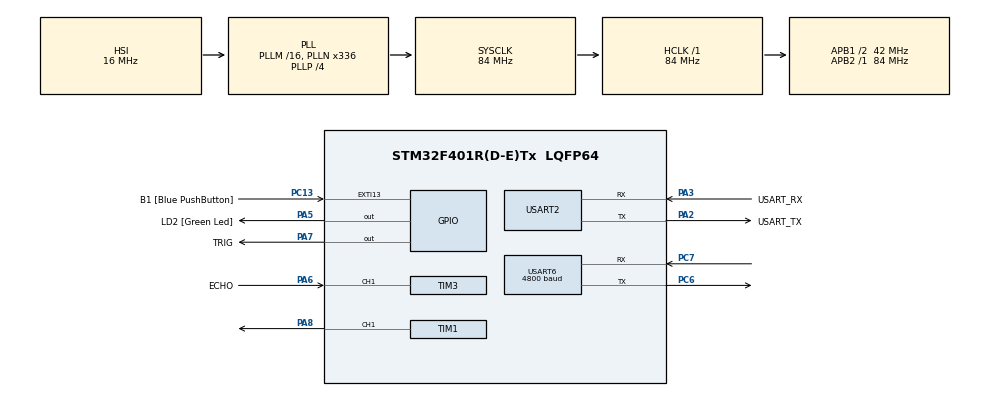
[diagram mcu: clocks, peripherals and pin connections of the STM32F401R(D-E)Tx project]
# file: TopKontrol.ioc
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Mcu.Family=STM32F4
Mcu.Name=STM32F401R(D-E)Tx
Mcu.Package=LQFP64
NVIC.PriorityGroup=NVIC_PRIORITYGROUP_0
NVIC.TIM2_IRQn=true\:0\:0\:false\:false\:true\:true\:true\:true
NVIC.TIM3_IRQn=true\:0\:5\:false\:false\:true\:true\:true\:true
NVIC.TIM4_IRQn=true\:0\:0\:false\:false\:true\:true\:true\:true
NVIC.USART6_IRQn=true\:0\:4\:false\:false\:true\:true\:true\:true
PA13.GPIO_Label=TMS
PA13.Mode=Serial_Wire
PA13.Signal=SYS_JTMS-SWDIO
PA14.GPIO_Label=TCK
PA14.Mode=Serial_Wire
PA14.Signal=SYS_JTCK-SWCLK
PA2.GPIO_Label=USART_TX
PA2.GPIO_Mode=GPIO_MODE_AF_PP
PA2.GPIO_PuPd=GPIO_NOPULL
PA2.GPIO_Speed=GPIO_SPEED_FREQ_LOW
PA2.Mode=Asynchronous
PA2.Signal=USART2_TX
PA3.GPIO_Label=USART_RX
PA3.GPIO_Mode=GPIO_MODE_AF_PP
PA3.GPIO_PuPd=GPIO_NOPULL
PA3.GPIO_Speed=GPIO_SPEED_FREQ_LOW
PA3.Mode=Asynchronous
PA3.Signal=USART2_RX
PA5.GPIO_Label=LD2 [Green Led]
PA5.GPIO_Mode=GPIO_MODE_OUTPUT_PP
PA5.GPIO_PuPd=GPIO_NOPULL
PA5.GPIO_Speed=GPIO_SPEED_FREQ_LOW
PA5.Signal=GPIO_Output
PA6.GPIO_Label=ECHO
PA6.Signal=S_TIM3_CH1
PA7.GPIO_Label=TRIG
PA7.PinState=GPIO_PIN_RESET
PA7.Signal=GPIO_Output
PA8.Signal=S_TIM1_CH1
PB3.GPIO_Label=SWO
PB3.Signal=SYS_JTDO-SWO
PC13-ANTI_TAMP.GPIO_Label=B1 [Blue PushButton]
PC13-ANTI_TAMP.GPIO_ModeDefaultEXTI=GPIO_MODE_IT_FALLING
PC13-ANTI_TAMP.GPIO_PuPd=GPIO_NOPULL
PC13-ANTI_TAMP.Signal=GPXTI13
PC14-OSC32_IN.Mode=LSE-External-Oscillator
PC14-OSC32_IN.Signal=RCC_OSC32_IN
PC15-OSC32_OUT.Mode=LSE-External-Oscillator
PC15-OSC32_OUT.Signal=RCC_OSC32_OUT
PC6.Mode=Asynchronous
PC6.Signal=USART6_TX
PC7.Mode=Asynchronous
PC7.Signal=USART6_RX
PH0\ -\ OSC_IN.Mode=HSE-External-Clock-Source
PH0\ -\ OSC_IN.Signal=RCC_OSC_IN
PH1\ -\ OSC_OUT.Mode=HSE-External-Clock-Source
PH1\ -\ OSC_OUT.Signal=RCC_OSC_OUT
ProjectManager.HeapSize=0x200
ProjectManager.StackSize=0x400
ProjectManager.TargetToolchain=STM32CubeIDE
RCC.48MHZClocksFreq_Value=48000000
RCC.AHBFreq_Value=84000000
RCC.APB1CLKDivider=RCC_HCLK_DIV2
RCC.APB1Freq_Value=42000000
RCC.APB1TimFreq_Value=84000000
RCC.APB2Freq_Value=84000000
RCC.APB2TimFreq_Value=84000000
RCC.CortexFreq_Value=84000000
RCC.HCLKFreq_Value=84000000
RCC.HSE_VALUE=8000000
RCC.HSI_VALUE=16000000
RCC.PLLN=336
RCC.PLLP=RCC_PLLP_DIV4
RCC.PLLQ=7
RCC.SYSCLKFreq_VALUE=84000000
RCC.SYSCLKSource=RCC_SYSCLKSOURCE_PLLCLK
RCC.VCOOutputFreq_Value=336000000
SH.S_TIM1_CH1.0=TIM1_CH1,PWM Generation1 CH1
SH.S_TIM3_CH1.0=TIM3_CH1,Input_Capture1_from_TI1
TIM1.Channel-PWM\ Generation1\ CH1=TIM_CHANNEL_1
TIM1.Period=1000-1
TIM1.Prescaler=1680-1
TIM2.Period=1000-1
TIM2.Prescaler=84-1
TIM3.Channel-Input_Capture1_from_TI1=TIM_CHANNEL_1
TIM3.Prescaler=84-1
TIM4.Period=50000-1
TIM4.Prescaler=84-1
TIM5.Prescaler=84-1
USART2.VirtualMode=VM_ASYNC
USART6.BaudRate=4800
USART6.VirtualMode=VM_ASYNC
VP_TIM1_VS_ClockSourceINT.Mode=Internal
VP_TIM2_VS_ClockSourceINT.Mode=Internal
VP_TIM3_VS_ClockSourceINT.Mode=Internal
VP_TIM4_VS_ClockSourceINT.Mode=Internal
VP_TIM5_VS_ClockSourceINT.Mode=Internal
board=NUCLEO-F401RE

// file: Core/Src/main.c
/* USER CODE BEGIN Header */
/**
  ******************************************************************************
  * @file           : main.c
  * @brief          : Main program body
  ******************************************************************************
  * @attention
  *
  * Copyright (c) 2023 STMicroelectronics.
  * All rights reserved.
  *
  * This software is licensed under terms that can be found in the LICENSE file
  * in the root directory of this software component.
  * If no LICENSE file comes with this software, it is provided AS-IS.
  *
  ******************************************************************************
  */
/* USER CODE END Header */
#include "main.h"

TIM_HandleTypeDef htim1;
TIM_HandleTypeDef htim2;
TIM_HandleTypeDef htim3;
TIM_HandleTypeDef htim4;
TIM_HandleTypeDef htim5;

UART_HandleTypeDef huart2;
UART_HandleTypeDef huart6;

/* USER CODE BEGIN PV */
uint32_t pwmValue = 0,pwmCALIB;
uint8_t capturedFlag = 0;
float distance = 0, distance2 = 0, distanceSharp = 0, errorPos = 0, prevErrorPos = 0, adcVoltage = 0;
uint32_t firstValue, lastValue;

int refPos = 0;
float P, I, D;
float Kp = 5, Ki = 50, Kd=250; // Kp = 5, Ki = 0.000005, Kd = 350;

uint8_t isTriggered = 0;
//uint8_t n = 2;
float FIR_b[2]={0.5, 0.5};
float FIR_x[2]={0, 0};

uint8_t transmitData[] ={'#', 'p', 'o', 's', ':', ' ', ' ', ' ', 'r', 'e', 'f', 'p', 'o', 's', ':', ' ', ' ', ' ', '\n'};
uint8_t receiveData[10];
/* USER CODE END PV */

void SystemClock_Config(void);
static void MX_GPIO_Init(void);
static void MX_USART2_UART_Init(void);
static void MX_TIM1_Init(void);
static void MX_TIM3_Init(void);
static void MX_TIM2_Init(void);
static void MX_TIM4_Init(void);
static void MX_USART6_UART_Init(void);
static void MX_TIM5_Init(void);
/* USER CODE BEGIN PFP */
int absolute(int x);
float exponential10(int x);
float FIR(float* b, float* x);
/* USER CODE END PFP */

/* USER CODE BEGIN 0 */
int absolute(int x)
{
	if(x < 0)
		x = -1*x;
	return x;
}
float exponential10(int x)
{
	uint32_t multiplier = 1;
	if(x == 0)
		return 1;
	else if(x > 0)
	{
		for(int i = 0; i<x; i++)
				multiplier = 10*multiplier;
		return multiplier;
	}
	else
	{
		for(int i = x; i<0; i++)
						multiplier = 10*multiplier;
		return 1/multiplier;
	}

}
float FIR(float* b, float* x)
{
	if(sizeof(x) == sizeof(b))
	{
		float y = 0.0;
		for(int i = 0; i < sizeof(x); i++)
		{
			y = y + b[i]*x[i];
		}
		return y;
	}
}
/* USER CODE END 0 */

int main(void)
{

  /* MCU Configuration--------------------------------------------------------*/

  /* Reset of all peripherals, Initializes the Flash interface and the Systick. */
  HAL_Init();

  /* Configure the system clock */
  SystemClock_Config();

  /* Initialize all configured peripherals */
  MX_GPIO_Init();
  MX_USART2_UART_Init();
  MX_TIM1_Init();
  MX_TIM3_Init();
  MX_TIM2_Init();
  MX_TIM4_Init();
  MX_USART6_UART_Init();
  MX_TIM5_Init();
  /* USER CODE BEGIN 2 */
HAL_TIM_PWM_Start(&htim1, TIM_CHANNEL_1);//PWMMotor
HAL_TIM_IC_Start_IT(&htim3, TIM_CHANNEL_1);//ECHO
HAL_TIM_Base_Start_IT(&htim2);//TRIG10us_
HAL_TIM_Base_Start_IT(&htim4);//derivative_20ms
//HAL_ADC_Start_IT(&hadc1);

HAL_UART_Transmit_IT(&huart6, transmitData, sizeof(transmitData));
HAL_UART_Receive_IT(&huart6, receiveData, sizeof(receiveData));

  /* USER CODE END 2 */

  /* Infinite loop */
  while (1)
  {

  }
}

void SystemClock_Config(void)
{
  RCC_OscInitTypeDef RCC_OscInitStruct = {0};
  RCC_ClkInitTypeDef RCC_ClkInitStruct = {0};

  /** Configure the main internal regulator output voltage
  */
  __HAL_RCC_PWR_CLK_ENABLE();
  __HAL_PWR_VOLTAGESCALING_CONFIG(PWR_REGULATOR_VOLTAGE_SCALE2);

  /** Initializes the RCC Oscillators according to the specified parameters
  * in the RCC_OscInitTypeDef structure.
  */
  RCC_OscInitStruct.OscillatorType = RCC_OSCILLATORTYPE_HSI;
  RCC_OscInitStruct.HSIState = RCC_HSI_ON;
  RCC_OscInitStruct.HSICalibrationValue = RCC_HSICALIBRATION_DEFAULT;
  RCC_OscInitStruct.PLL.PLLState = RCC_PLL_ON;
  RCC_OscInitStruct.PLL.PLLSource = RCC_PLLSOURCE_HSI;
  RCC_OscInitStruct.PLL.PLLM = 16;
  RCC_OscInitStruct.PLL.PLLN = 336;
  RCC_OscInitStruct.PLL.PLLP = RCC_PLLP_DIV4;
  RCC_OscInitStruct.PLL.PLLQ = 7;
  if (HAL_RCC_OscConfig(&RCC_OscInitStruct) != HAL_OK)
  {
    Error_Handler();
  }

  /** Initializes the CPU, AHB and APB buses clocks
  */
  RCC_ClkInitStruct.ClockType = RCC_CLOCKTYPE_HCLK|RCC_CLOCKTYPE_SYSCLK
                              |RCC_CLOCKTYPE_PCLK1|RCC_CLOCKTYPE_PCLK2;
  RCC_ClkInitStruct.SYSCLKSource = RCC_SYSCLKSOURCE_PLLCLK;
  RCC_ClkInitStruct.AHBCLKDivider = RCC_SYSCLK_DIV1;
  RCC_ClkInitStruct.APB1CLKDivider = RCC_HCLK_DIV2;
  RCC_ClkInitStruct.APB2CLKDivider = RCC_HCLK_DIV1;

  if (HAL_RCC_ClockConfig(&RCC_ClkInitStruct, FLASH_LATENCY_2) != HAL_OK)
  {
    Error_Handler();
  }
}

static void MX_TIM1_Init(void)
{

  TIM_ClockConfigTypeDef sClockSourceConfig = {0};
  TIM_MasterConfigTypeDef sMasterConfig = {0};
  TIM_OC_InitTypeDef sConfigOC = {0};
  TIM_BreakDeadTimeConfigTypeDef sBreakDeadTimeConfig = {0};

  htim1.Instance = TIM1;
  htim1.Init.Prescaler = 1680-1;
  htim1.Init.CounterMode = TIM_COUNTERMODE_UP;
  htim1.Init.Period = 1000-1;
  htim1.Init.ClockDivision = TIM_CLOCKDIVISION_DIV1;
  htim1.Init.RepetitionCounter = 0;
  htim1.Init.AutoReloadPreload = TIM_AUTORELOAD_PRELOAD_DISABLE;
  if (HAL_TIM_Base_Init(&htim1) != HAL_OK)
  {
    Error_Handler();
  }
  sClockSourceConfig.ClockSource = TIM_CLOCKSOURCE_INTERNAL;
  if (HAL_TIM_ConfigClockSource(&htim1, &sClockSourceConfig) != HAL_OK)
  {
    Error_Handler();
  }
  if (HAL_TIM_PWM_Init(&htim1) != HAL_OK)
  {
    Error_Handler();
  }
  sMasterConfig.MasterOutputTrigger = TIM_TRGO_RESET;
  sMasterConfig.MasterSlaveMode = TIM_MASTERSLAVEMODE_DISABLE;
  if (HAL_TIMEx_MasterConfigSynchronization(&htim1, &sMasterConfig) != HAL_OK)
  {
    Error_Handler();
  }
  sConfigOC.OCMode = TIM_OCMODE_PWM1;
  sConfigOC.Pulse = 0;
  sConfigOC.OCPolarity = TIM_OCPOLARITY_HIGH;
  sConfigOC.OCNPolarity = TIM_OCNPOLARITY_HIGH;
  sConfigOC.OCFastMode = TIM_OCFAST_DISABLE;
  sConfigOC.OCIdleState = TIM_OCIDLESTATE_RESET;
  sConfigOC.OCNIdleState = TIM_OCNIDLESTATE_RESET;
  if (HAL_TIM_PWM_ConfigChannel(&htim1, &sConfigOC, TIM_CHANNEL_1) != HAL_OK)
  {
    Error_Handler();
  }
  sBreakDeadTimeConfig.OffStateRunMode = TIM_OSSR_DISABLE;
  sBreakDeadTimeConfig.OffStateIDLEMode = TIM_OSSI_DISABLE;
  sBreakDeadTimeConfig.LockLevel = TIM_LOCKLEVEL_OFF;
  sBreakDeadTimeConfig.DeadTime = 0;
  sBreakDeadTimeConfig.BreakState = TIM_BREAK_DISABLE;
  sBreakDeadTimeConfig.BreakPolarity = TIM_BREAKPOLARITY_HIGH;
  sBreakDeadTimeConfig.AutomaticOutput = TIM_AUTOMATICOUTPUT_DISABLE;
  if (HAL_TIMEx_ConfigBreakDeadTime(&htim1, &sBreakDeadTimeConfig) != HAL_OK)
  {
    Error_Handler();
  }
  HAL_TIM_MspPostInit(&htim1);

}

static void MX_TIM2_Init(void)
{

  TIM_ClockConfigTypeDef sClockSourceConfig = {0};
  TIM_MasterConfigTypeDef sMasterConfig = {0};

  htim2.Instance = TIM2;
  htim2.Init.Prescaler = 84-1;
  htim2.Init.CounterMode = TIM_COUNTERMODE_UP;
  htim2.Init.Period = 1000-1;
  htim2.Init.ClockDivision = TIM_CLOCKDIVISION_DIV1;
  htim2.Init.AutoReloadPreload = TIM_AUTORELOAD_PRELOAD_DISABLE;
  if (HAL_TIM_Base_Init(&htim2) != HAL_OK)
  {
    Error_Handler();
  }
  sClockSourceConfig.ClockSource = TIM_CLOCKSOURCE_INTERNAL;
  if (HAL_TIM_ConfigClockSource(&htim2, &sClockSourceConfig) != HAL_OK)
  {
    Error_Handler();
  }
  sMasterConfig.MasterOutputTrigger = TIM_TRGO_RESET;
  sMasterConfig.MasterSlaveMode = TIM_MASTERSLAVEMODE_DISABLE;
  if (HAL_TIMEx_MasterConfigSynchronization(&htim2, &sMasterConfig) != HAL_OK)
  {
    Error_Handler();
  }

}

static void MX_TIM3_Init(void)
{

  TIM_ClockConfigTypeDef sClockSourceConfig = {0};
  TIM_MasterConfigTypeDef sMasterConfig = {0};
  TIM_IC_InitTypeDef sConfigIC = {0};

  htim3.Instance = TIM3;
  htim3.Init.Prescaler = 84-1;
  htim3.Init.CounterMode = TIM_COUNTERMODE_UP;
  htim3.Init.Period = 65535;
  htim3.Init.ClockDivision = TIM_CLOCKDIVISION_DIV1;
  htim3.Init.AutoReloadPreload = TIM_AUTORELOAD_PRELOAD_DISABLE;
  if (HAL_TIM_Base_Init(&htim3) != HAL_OK)
  {
    Error_Handler();
  }
  sClockSourceConfig.ClockSource = TIM_CLOCKSOURCE_INTERNAL;
  if (HAL_TIM_ConfigClockSource(&htim3, &sClockSourceConfig) != HAL_OK)
  {
    Error_Handler();
  }
  if (HAL_TIM_IC_Init(&htim3) != HAL_OK)
  {
    Error_Handler();
  }
  sMasterConfig.MasterOutputTrigger = TIM_TRGO_RESET;
  sMasterConfig.MasterSlaveMode = TIM_MASTERSLAVEMODE_DISABLE;
  if (HAL_TIMEx_MasterConfigSynchronization(&htim3, &sMasterConfig) != HAL_OK)
  {
    Error_Handler();
  }
  sConfigIC.ICPolarity = TIM_INPUTCHANNELPOLARITY_RISING;
  sConfigIC.ICSelection = TIM_ICSELECTION_DIRECTTI;
  sConfigIC.ICPrescaler = TIM_ICPSC_DIV1;
  sConfigIC.ICFilter = 0;
  if (HAL_TIM_IC_ConfigChannel(&htim3, &sConfigIC, TIM_CHANNEL_1) != HAL_OK)
  {
    Error_Handler();
  }

}

static void MX_TIM4_Init(void)
{

  TIM_ClockConfigTypeDef sClockSourceConfig = {0};
  TIM_MasterConfigTypeDef sMasterConfig = {0};

  htim4.Instance = TIM4;
  htim4.Init.Prescaler = 84-1;
  htim4.Init.CounterMode = TIM_COUNTERMODE_UP;
  htim4.Init.Period = 50000-1;
  htim4.Init.ClockDivision = TIM_CLOCKDIVISION_DIV1;
  htim4.Init.AutoReloadPreload = TIM_AUTORELOAD_PRELOAD_DISABLE;
  if (HAL_TIM_Base_Init(&htim4) != HAL_OK)
  {
    Error_Handler();
  }
  sClockSourceConfig.ClockSource = TIM_CLOCKSOURCE_INTERNAL;
  if (HAL_TIM_ConfigClockSource(&htim4, &sClockSourceConfig) != HAL_OK)
  {
    Error_Handler();
  }
  sMasterConfig.MasterOutputTrigger = TIM_TRGO_RESET;
  sMasterConfig.MasterSlaveMode = TIM_MASTERSLAVEMODE_DISABLE;
  if (HAL_TIMEx_MasterConfigSynchronization(&htim4, &sMasterConfig) != HAL_OK)
  {
    Error_Handler();
  }

}

static void MX_TIM5_Init(void)
{

  TIM_ClockConfigTypeDef sClockSourceConfig = {0};
  TIM_MasterConfigTypeDef sMasterConfig = {0};

  htim5.Instance = TIM5;
  htim5.Init.Prescaler = 84-1;
  htim5.Init.CounterMode = TIM_COUNTERMODE_UP;
  htim5.Init.Period = 4294967295;
  htim5.Init.ClockDivision = TIM_CLOCKDIVISION_DIV1;
  htim5.Init.AutoReloadPreload = TIM_AUTORELOAD_PRELOAD_DISABLE;
  if (HAL_TIM_Base_Init(&htim5) != HAL_OK)
  {
    Error_Handler();
  }
  sClockSourceConfig.ClockSource = TIM_CLOCKSOURCE_INTERNAL;
  if (HAL_TIM_ConfigClockSource(&htim5, &sClockSourceConfig) != HAL_OK)
  {
    Error_Handler();
  }
  sMasterConfig.MasterOutputTrigger = TIM_TRGO_RESET;
  sMasterConfig.MasterSlaveMode = TIM_MASTERSLAVEMODE_DISABLE;
  if (HAL_TIMEx_MasterConfigSynchronization(&htim5, &sMasterConfig) != HAL_OK)
  {
    Error_Handler();
  }

}

static void MX_USART2_UART_Init(void)
{

  huart2.Instance = USART2;
  huart2.Init.BaudRate = 115200;
  huart2.Init.WordLength = UART_WORDLENGTH_8B;
  huart2.Init.StopBits = UART_STOPBITS_1;
  huart2.Init.Parity = UART_PARITY_NONE;
  huart2.Init.Mode = UART_MODE_TX_RX;
  huart2.Init.HwFlowCtl = UART_HWCONTROL_NONE;
  huart2.Init.OverSampling = UART_OVERSAMPLING_16;
  if (HAL_UART_Init(&huart2) != HAL_OK)
  {
    Error_Handler();
  }

}

static void MX_USART6_UART_Init(void)
{

  huart6.Instance = USART6;
  huart6.Init.BaudRate = 4800;
  huart6.Init.WordLength = UART_WORDLENGTH_8B;
  huart6.Init.StopBits = UART_STOPBITS_1;
  huart6.Init.Parity = UART_PARITY_NONE;
  huart6.Init.Mode = UART_MODE_TX_RX;
  huart6.Init.HwFlowCtl = UART_HWCONTROL_NONE;
  huart6.Init.OverSampling = UART_OVERSAMPLING_16;
  if (HAL_UART_Init(&huart6) != HAL_OK)
  {
    Error_Handler();
  }

}

static void MX_GPIO_Init(void)
{
  GPIO_InitTypeDef GPIO_InitStruct = {0};

  /* GPIO Ports Clock Enable */
  __HAL_RCC_GPIOC_CLK_ENABLE();
  __HAL_RCC_GPIOH_CLK_ENABLE();
  __HAL_RCC_GPIOA_CLK_ENABLE();
  __HAL_RCC_GPIOB_CLK_ENABLE();

  /*Configure GPIO pin Output Level */
  HAL_GPIO_WritePin(GPIOA, LD2_Pin|TRIG_Pin, GPIO_PIN_RESET);

  /*Configure GPIO pin : B1_Pin */
  GPIO_InitStruct.Pin = B1_Pin;
  GPIO_InitStruct.Mode = GPIO_MODE_IT_FALLING;
  GPIO_InitStruct.Pull = GPIO_NOPULL;
  HAL_GPIO_Init(B1_GPIO_Port, &GPIO_InitStruct);

  /*Configure GPIO pins : LD2_Pin TRIG_Pin */
  GPIO_InitStruct.Pin = LD2_Pin|TRIG_Pin;
  GPIO_InitStruct.Mode = GPIO_MODE_OUTPUT_PP;
  GPIO_InitStruct.Pull = GPIO_NOPULL;
  GPIO_InitStruct.Speed = GPIO_SPEED_FREQ_LOW;
  HAL_GPIO_Init(GPIOA, &GPIO_InitStruct);

}

/* USER CODE BEGIN 4 */
void HAL_TIM_IC_CaptureCallback(TIM_HandleTypeDef *htim)
{
	if(htim->Channel == HAL_TIM_ACTIVE_CHANNEL_1)//htim == &htim3
	{
		if(!capturedFlag) //Distance measurement and proportional
		{
			firstValue = HAL_TIM_ReadCapturedValue(&htim3, TIM_CHANNEL_1);
			capturedFlag = 1;
			__HAL_TIM_SET_CAPTUREPOLARITY(&htim3, TIM_CHANNEL_1, TIM_INPUTCHANNELPOLARITY_FALLING);
		}
		else if(capturedFlag)
		{
			lastValue = HAL_TIM_ReadCapturedValue(&htim3, TIM_CHANNEL_1);
			uint32_t difference;
			if(lastValue > firstValue)
				difference = lastValue - firstValue;
			else
				difference =  lastValue - firstValue + 65535;

			distance = difference * 0.034/2.0 - 15.0;
			FIR_x[0] = distance;
			distance2 = (FIR_x[0]*FIR_b[0]+FIR_x[1]*FIR_b[1]) ;
//			FIR_x[2] = FIR_x[1];
			FIR_x[1] = FIR_x[0];

			capturedFlag = 0;
			__HAL_TIM_SET_CAPTUREPOLARITY(&htim3, TIM_CHANNEL_1, TIM_INPUTCHANNELPOLARITY_RISING);
			__HAL_TIM_DISABLE_IT(&htim3, TIM_IT_CC1);

				errorPos = refPos - distance2;
				  P = Kp * errorPos;

				  pwmValue = 50 - (P + I + D)/6;

				  if(pwmValue < 25 || distance2 >= 750)
					  pwmValue = 25;
				  if(pwmValue > 75 && distance2 < 750)
					  pwmValue = 75;

				  TIM1->CCR1 = pwmValue;

		}
	}
}

void HAL_TIM_PeriodElapsedCallback (TIM_HandleTypeDef *htim)
{
	if(htim == &htim2)//Distance sensor
	{

		if(!isTriggered)
		{

			HAL_GPIO_WritePin(TRIG_GPIO_Port, TRIG_Pin, SET);
			isTriggered = 1;
		}
		else if(isTriggered)
		{
			isTriggered = 0;
			HAL_GPIO_WritePin(TRIG_GPIO_Port, TRIG_Pin, RESET);

			__HAL_TIM_ENABLE_IT(&htim3, TIM_IT_CC1);

		}

	}

	else if(htim == &htim4)//Derivative
	{
		D = Kd*(errorPos - prevErrorPos)/10.0;
		prevErrorPos = errorPos;

		pwmValue = 50 - (P + I + D)/6;

		 if(pwmValue < 25 || distance2 >= 750)
			 pwmValue = 25;
		 if(pwmValue > 75 && distance2 < 750)
			 pwmValue = 75;

		TIM1->CCR1 = pwmValue;
	}

	else if(htim == &htim5)//Integrator
	{
		  if(errorPos > -3 && errorPos <3)
		  {
			  I = I + errorPos*Ki;
		  }
		  else
			  I = 0;
		  pwmValue = 50 - (P + I + D)/6;

		  if(pwmValue < 25 || distance2 >= 750)
			  pwmValue = 25;
		  if(pwmValue > 75 && distance2 < 750)
			  pwmValue = 75;

		  TIM1->CCR1 = pwmValue;
	}
}

void HAL_UART_TxCpltCallback(UART_HandleTypeDef *huart)
{
	if(huart == &huart6)
	{
		if(refPos >= 0)
			transmitData[15] = ' ';
		else
			transmitData[15] = '-';

		transmitData[16] = absolute(refPos) + 48;

		if(distance2 >= 0)
			transmitData[5] = '+';
		else
			transmitData[5] = '-';
		transmitData[6] = (int)((absolute((int)(distance2)))/10) + 48;
		transmitData[7] = (absolute((int)(distance2)))%10 + 48;
		HAL_UART_Transmit_IT(&huart6, transmitData, sizeof(transmitData));
	}//  #pos: +xxrefpos:-x \n
}

void HAL_UART_RxCpltCallback(UART_HandleTypeDef *huart)
{
	if(huart == &huart6)
	{
		if(receiveData[0] == '#')
		{
			if((receiveData[1] == '+'))
				refPos = receiveData[2] - 48;
			else if((receiveData[1] == '-'))
				refPos = (receiveData[2] - 48) *(-1);
			if(receiveData[3] != '-')
				Kp = (receiveData[3] - 48) * exponential10(receiveData[4] - 48);
			if(receiveData[4] != '-')
				Ki = (receiveData[5] - 48) * exponential10((receiveData[6] - 48)*(-1));
			if(receiveData[6] != '-')
				Kd = (receiveData[7] - 48) * exponential10(receiveData[8] - 48);
		}
		HAL_UART_Receive_IT(&huart6, receiveData, sizeof(receiveData));

	}
}

//void HAL_ADC_ConvCpltCallback(ADC_HandleTypeDef *hadc)
//{
//	if(hadc == &hadc1)
//	{
//		adcVoltage = (float)HAL_ADC_GetValue(&hadc1) * 3.3/4096.0;
//		distanceSharp = 13.0 / adcVoltage;
//		HAL_ADC_Start_IT(&hadc1);
//	}
//}
/* USER CODE END 4 */

void Error_Handler(void)
{
  __disable_irq();
  while (1)
  {
  }
}
